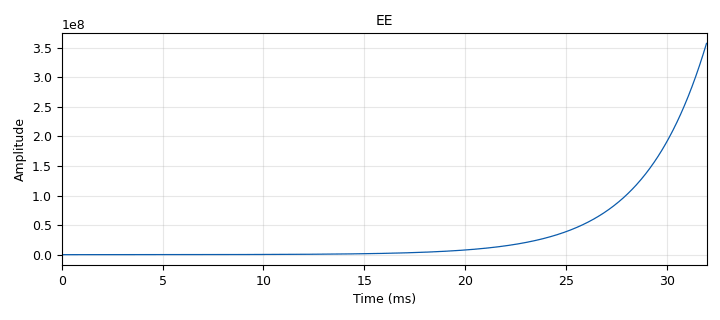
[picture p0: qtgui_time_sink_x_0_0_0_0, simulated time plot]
options:
  parameters:
    author: RJ
    generate_options: qt_gui
    id: BSP_TDREE
    output_language: python
    title: BSP_TDREE
  states: {}

blocks:
- name: samp_rate
  id: variable
  parameters:
    value: '32000'
  states: {}
- name: blocks_throttle2_0_0_0_0
  id: blocks_throttle2
  parameters:
    samples_per_second: samp_rate
    type: float
  states: {}
- name: blocks_vector_source_x_0
  id: blocks_vector_source_x
  parameters:
    repeat: 'False'
    type: float
    vector: '[1.0 * 1.01**i for i in range(1500)]'
  states: {}
- name: interp_fir_filter_xxx_0
  id: interp_fir_filter_xxx
  parameters:
    interp: '1'
    taps: '[1.0 * 1.01**i for i in reversed(range(101))]'
    type: fff
  states: {}
- name: qtgui_time_sink_x_0_0_0_0
  id: qtgui_time_sink_x
  parameters:
    autoscale: 'True'
    name: '"EE"'
    size: '1024'
    srate: samp_rate
    type: float
  states: {}

connections:
- [blocks_throttle2_0_0_0_0, '0', interp_fir_filter_xxx_0, '0']
- [blocks_vector_source_x_0, '0', blocks_throttle2_0_0_0_0, '0']
- [interp_fir_filter_xxx_0, '0', qtgui_time_sink_x_0_0_0_0, '0']

metadata:
  file_format: 1
  grc_version: 3.10.11.0
